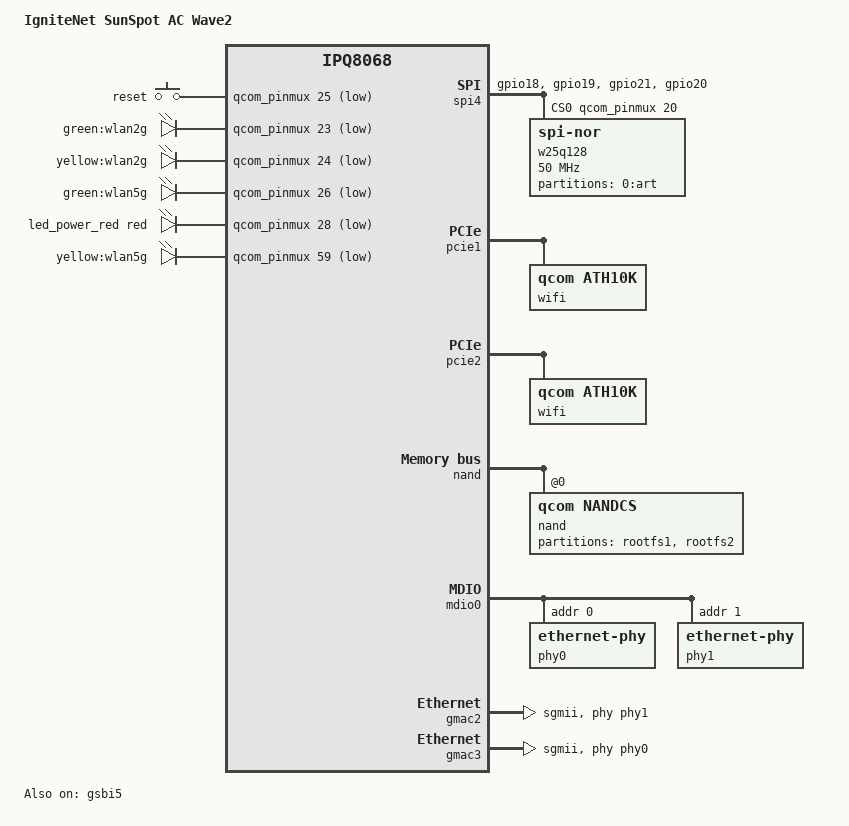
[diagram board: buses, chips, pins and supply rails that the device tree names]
#include "qcom-ipq8064-v2.0-smb208.dtsi"

#include <dt-bindings/input/input.h>
#include <dt-bindings/leds/common.h>
#include <dt-bindings/soc/qcom,tcsr.h>

/ {
	model = "IgniteNet SunSpot AC Wave2";
	compatible = "ignitenet,ss-w2-ac2600", "qcom,ipq8068";

	aliases {
		ethernet0 = &gmac2;
		ethernet1 = &gmac3;

		led-boot = &led_power_red;
		led-failsafe = &led_power_red;
		led-running = &led_power_red;
		led-upgrade = &led_power_red;
	};

	chosen {
		bootargs-append = " console=ttyMSM0,115200n8 root=/dev/ubiblock0_1";
	};

	reserved-memory {
		nss@40000000 {
			reg = <0x40000000 0x1000000>;
			no-map;
		};

		smem: smem@41000000 {
			reg = <0x41000000 0x200000>;
			no-map;
		};

		wifi_dump@44000000 {
			reg = <0x44000000 0x600000>;
			no-map;
		};
	};

	cpus {
		idle-states {
			CPU_SPC: spc {
				status = "disabled";
			};
		};
	};

	keys {
		compatible = "gpio-keys";
		pinctrl-0 = <&button_pins>;
		pinctrl-names = "default";

		reset {
			label = "reset";
			gpios = <&qcom_pinmux 25 GPIO_ACTIVE_LOW>;
			linux,code = <KEY_RESTART>;
			debounce-interval = <60>;
			wakeup-source;
		};
	};

	leds {
		compatible = "gpio-leds";
		pinctrl-0 = <&led_pins>;
		pinctrl-names = "default";

		wlan2g_green {
			label = "green:wlan2g";
			gpios = <&qcom_pinmux 23 GPIO_ACTIVE_LOW>;
		};

		wlan2g_yellow {
			label = "yellow:wlan2g";
			gpios = <&qcom_pinmux 24 GPIO_ACTIVE_LOW>;
		};

		wlan5g_green {
			label = "green:wlan5g";
			gpios = <&qcom_pinmux 26 GPIO_ACTIVE_LOW>;
		};

		led_power_red: power_red {
			function = LED_FUNCTION_POWER;
			color = <LED_COLOR_ID_RED>;
			gpios = <&qcom_pinmux 28 GPIO_ACTIVE_LOW>;
		};

		wlan5g_yellow {
			label = "yellow:wlan5g";
			gpios = <&qcom_pinmux 59 GPIO_ACTIVE_LOW>;
		};
	};
};

&qcom_pinmux {
	spi_pins: spi_pins {
		mux {
			pins = "gpio18", "gpio19";
			function = "gsbi5";
			drive-strength = <10>;
			bias-pull-down;
		};

		clk {
			pins = "gpio21";
			function = "gsbi5";
			drive-strength = <12>;
			bias-pull-down;
		};

		cs {
			pins = "gpio20";
			function = "gpio";
			drive-strength = <10>;
			bias-pull-up;
		};
	};

	led_pins: led_pins {
		mux {
			pins = "gpio16", "gpio23", "gpio24", "gpio26",
				   "gpio28", "gpio59";
			function = "gpio";
			drive-strength = <2>;
			bias-pull-up;
		};
	};

	button_pins: button_pins {
		mux {
			pins = "gpio25";
			function = "gpio";
			drive-strength = <2>;
			bias-pull-up;
		};
	};
};

&gsbi5 {
	qcom,mode = <GSBI_PROT_SPI>;
	status = "okay";

	spi4: spi@1a280000 {
		status = "okay";
		spi-max-frequency = <50000000>;

		pinctrl-0 = <&spi_pins>;
		pinctrl-names = "default";

		cs-gpios = <&qcom_pinmux 20 GPIO_ACTIVE_HIGH>;

		w25q128@0 {
			compatible = "jedec,spi-nor";
			#address-cells = <1>;
			#size-cells = <1>;
			spi-max-frequency = <50000000>;
			reg = <0>;

			partitions {
				compatible = "qcom,smem-part";

				art: partition-0-art {
					label = "0:art";
				};
			};
		};
	};
};

&art {
	nvmem-layout {
		compatible = "fixed-layout";
		#address-cells = <1>;
		#size-cells = <1>;

		macaddr_art_0: macaddr@0 {
			reg = <0x0 0x6>;
		};

		macaddr_art_6: macaddr@6 {
			reg = <0x6 0x6>;
		};

		precal_art_1000: precal@1000 {
			reg = <0x1000 0x2f20>;
		};

		precal_art_5000: precal@5000 {
			reg = <0x5000 0x2f20>;
		};
	};
};

&pcie1 {
	status = "okay";

	bridge@0,0 {
		reg = <0x00000000 0 0 0 0>;
		#address-cells = <3>;
		#size-cells = <2>;
		ranges;

		wifi@1,0 {
			compatible = "qcom,ath10k";
			status = "okay";
			reg = <0x00010000 0 0 0 0>;
			qcom,ath10k-calibration-variant = "IgniteNet-SS-W2-AC2600";
			nvmem-cells = <&precal_art_1000>;
			nvmem-cell-names = "pre-calibration";
		};
	};
};

&pcie2 {
	status = "okay";

	bridge@0,0 {
		reg = <0x00000000 0 0 0 0>;
		#address-cells = <3>;
		#size-cells = <2>;
		ranges;

		wifi@1,0 {
			compatible = "qcom,ath10k";
			status = "okay";
			reg = <0x00010000 0 0 0 0>;
			qcom,ath10k-calibration-variant = "IgniteNet-SS-W2-AC2600";
			nvmem-cells = <&precal_art_5000>;
			nvmem-cell-names = "pre-calibration";
		};
	};
};

&nand {
	status = "okay";

	nand@0 {
		compatible = "qcom,nandcs";

		reg = <0>;

		nand-ecc-strength = <4>;
		nand-bus-width = <8>;
		nand-ecc-step-size = <512>;

		partitions {
			compatible = "fixed-partitions";
			#address-cells = <1>;
			#size-cells = <1>;

			rootfs1@0 {
				label = "rootfs1";
				reg = <0x0000000 0x4000000>;
			};

			rootfs2@4000000 {
				label = "rootfs2";
				reg = <0x4000000 0x4000000>;
			};
		};
	};
};

&mdio0 {
	status = "okay";

	pinctrl-0 = <&mdio0_pins>;
	pinctrl-names = "default";

	phy0: ethernet-phy@0 {
		reg = <0>;
	};

	phy1: ethernet-phy@1 {
		reg = <1>;
	};
};

&gmac2 {
	status = "okay";

	qcom,id = <2>;
	mdiobus = <&mdio0>;

	phy-mode = "sgmii";
	phy-handle = <&phy1>;

	nvmem-cells = <&macaddr_art_0>;
	nvmem-cell-names = "mac-address";
};

&gmac3 {
	status = "okay";

	qcom,id = <3>;
	mdiobus = <&mdio0>;

	phy-mode = "sgmii";
	phy-handle = <&phy0>;

	nvmem-cells = <&macaddr_art_6>;
	nvmem-cell-names = "mac-address";
};

&adm_dma {
	status = "okay";
};
